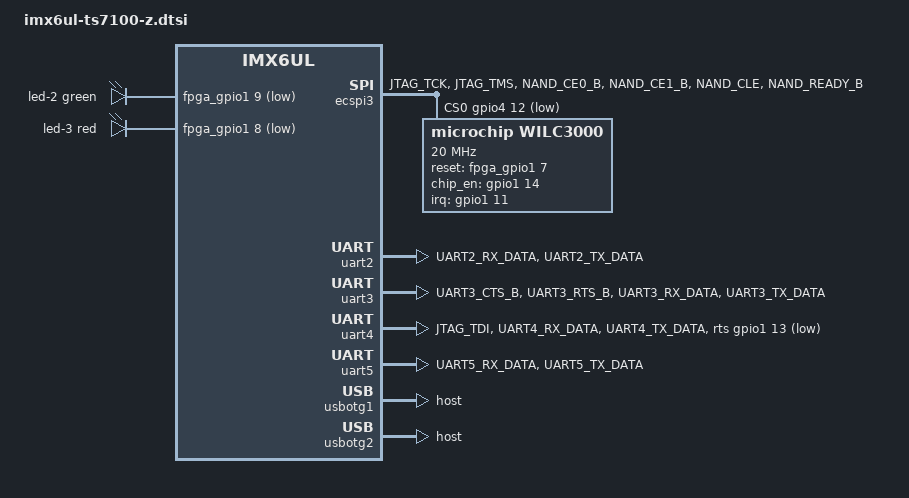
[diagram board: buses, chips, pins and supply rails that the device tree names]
// SPDX-License-Identifier: GPL-2.0 OR X11
/*
 * Copyright (C) 2023 Technologic Systems, Inc. dba embeddedTS
 */

/ {
	aliases {
		gpio5 = &fpga_gpio0;
		gpio6 = &fpga_gpio1;
		gpio7 = &fpga_gpio2;
	};

	led-controller {
		compatible = "gpio-leds";

		led-2 {
			color = <LED_COLOR_ID_GREEN>;
			function = LED_FUNCTION_INDICATOR;
			gpios = <&fpga_gpio1 9 GPIO_ACTIVE_LOW>;
			default-state = "off";
		};

		led-3 {
			color = <LED_COLOR_ID_RED>;
			function = LED_FUNCTION_INDICATOR;
			gpios = <&fpga_gpio1 8 GPIO_ACTIVE_LOW>;
			default-state = "off";
		};
	};
};

&ecspi3 {
	num-cs = <1>;
	cs-gpios = <&gpio4 12 GPIO_ACTIVE_LOW>;
	pinctrl-names = "default";
	pinctrl-0 = <&pinctrl_ecspi3>;
	status = "okay";

	wilc3000: wifi@0 {
		compatible = "microchip,wilc3000";
		reg = <0>;
		spi-max-frequency = <20000000>;
		reset-gpios = <&fpga_gpio1 7 GPIO_ACTIVE_HIGH>;
		chip_en-gpios = <&gpio1 14 GPIO_ACTIVE_HIGH>;
		interrupt-parent = <&gpio1>;
		interrupts = <11 GPIO_ACTIVE_HIGH>;
	};
};

/* CPU GPIO1: 209c000.gpio */
&gpio1 {
	gpio-line-names =
		"AN_CH4",        "RTC_BATT_FAIL", "I2C_1_CLK",     "I2C_1_DAT",
		"AN_CH0",        "AN_CH1",        "",              "",
		"AN_CH2",        "AN_CH3",        "",              "",
		"",              "",              "",              "",
		"",              "",              "",              "",
		"",              "",              "",              "",
		"",              "",              "",              "",
		"",              "",              "",              "";
};

/* CPU GPIO3: 20a4000.gpio */
&gpio3 {
	gpio-line-names =
		"",              "",              "",              "",
		"",              "",              "",              "",
		"",              "",              "",              "",
		"",              "",              "NIM_STATUS",    "",
		"",              "",              "",              "",
		"",              "",              "",              "",
		"",              "",              "",              "",
		"",              "",              "",              "";
};

/* CPU GPIO5: 20ac000.gpio */
&gpio5 {
	gpio-line-names =
		"POWER_FAIL_3V", "FPGA_IRQ",      "",              "",
		"EN_RELAY_1",    "EN_RELAY_2",    "NIM_RESET",     "",
		"",              "",              "",              "",
		"",              "",              "",              "",
		"",              "",              "",              "",
		"",              "",              "",              "",
		"",              "",              "",              "",
		"",              "",              "",              "";
};

/* FPGA dio: 50004010.gpio */
&fpga_gpio0 {
	gpio-line-names =
		"DIO_1_OUT", "DIO_2_OUT", "DIO_1_IN",  "DIO_2_IN",
		"DIO_3_IN",  "DIO_6",     "DIG_IN_1",  "DIG_IN_2",
		"DIG_IN_3",  "EN_CL_1",   "EN_CL_2",   "EN_CL_3",
		"",          "",          "EN_CL_4",   "EN_HS_SW";
};

/* FPGA dio2: 50004040.gpio */
&fpga_gpio1 {
	gpio-line-names =
		"EN_EMMC_3V3#",   "EN_ADC1_12V",    "EN_ADC2_12V",    "EN_ADC3_12V",
		"EN_ADC4_12V",    "EN_USB_HOST_5V", "PHY_RESET#",     "WIFI_RESET#",
		"IO_RED_LED#",    "IO_GREEN_LED#",  "",               "",
		"EN_PROG_SILAB",  "DIO_3_OUT",      "EN_HSPWM",       "EN_LSPWM";
};

/* FPGA dio3: 50004050.gpio */
&fpga_gpio2 {
	gpio-line-names =
		"CPU_TOUCH_IRQ#", "",               "C6_PAD",         "B8_PAD",
		"C9_PAD",         "C8_PAD",         "NIM_3V3#_4V",    "DIO_16_PAD",
		"NIM_PWR_ON",     "SEL_NIM_USB",    "DIO_FAULT#",     "",
		"",               "",               "EN_BK_LT#",      "";
};

&iomuxc {
	pinctrl-names = "default";
	pinctrl-0 = <&ts7100z_pinctrl_hog>;

	imx6ul-ts7100z {
		ts7100z_pinctrl_hog: ts7100zhoggrp {
			fsl,pins = <
				/*
				 * All GPIO should be 0x1b020 unless special
				 * 0x1b020 == Hyst., 100k PU, 50 mA drive
				 * 0x1a020 == no pull resistor
				 * 0x13020 == 100k PD
				 */

				 /* REV B Strap */
				MX6UL_PAD_JTAG_TDO__GPIO1_IO12		0x1b020

				/* NIM_STATUS - set to drop when modem is no longer driving it high */
				MX6UL_PAD_LCD_DATA09__GPIO3_IO14	0x13020

				/* POWER_FAIL */
				MX6UL_PAD_SNVS_TAMPER0__GPIO5_IO00	0x1b020
				/* EN_RELAY 1 */
				MX6UL_PAD_SNVS_TAMPER4__GPIO5_IO04	0x1a020
				/* EN_RELAY 2 */
				MX6UL_PAD_SNVS_TAMPER5__GPIO5_IO05	0x1a020
				/* NIM_RESET */
				MX6UL_PAD_SNVS_TAMPER6__GPIO5_IO06	0x1b020
				/* FPGA Spares */
				MX6UL_PAD_SNVS_TAMPER7__GPIO5_IO07	0x1b020
				MX6UL_PAD_SNVS_TAMPER8__GPIO5_IO08	0x1b020
				MX6UL_PAD_SNVS_TAMPER9__GPIO5_IO09	0x1b020
			>;
		};

		pinctrl_adc1: adc1grp{
			fsl,pins = <
				MX6UL_PAD_GPIO1_IO00__GPIO1_IO00	0x1a020
				MX6UL_PAD_GPIO1_IO01__GPIO1_IO01	0x1a020
				MX6UL_PAD_GPIO1_IO04__GPIO1_IO04	0x1a020
				MX6UL_PAD_GPIO1_IO05__GPIO1_IO05	0x1a020
				MX6UL_PAD_GPIO1_IO08__GPIO1_IO08	0x1a020
				MX6UL_PAD_GPIO1_IO09__GPIO1_IO09	0x1a020
			>;
		};

		pinctrl_ecspi3: ecspi3grp {
			fsl,pins = <
				MX6UL_PAD_JTAG_TCK__GPIO1_IO14		0x1b020
				MX6UL_PAD_JTAG_TMS__GPIO1_IO11		0x1b020
				MX6UL_PAD_NAND_CE0_B__ECSPI3_SCLK	0x1b020
				MX6UL_PAD_NAND_CE1_B__ECSPI3_MOSI	0x1b020
				MX6UL_PAD_NAND_CLE__ECSPI3_MISO		0x1b020
				MX6UL_PAD_NAND_READY_B__GPIO4_IO12	0x1b020
			>;
		};

		pinctrl_uart2: uart2grp {
			fsl,pins = <
				MX6UL_PAD_UART2_RX_DATA__UART2_DCE_RX	0x1b0b1
				MX6UL_PAD_UART2_TX_DATA__UART2_DCE_TX	0x1b0b1
			>;
		};

		pinctrl_uart3: uart3grp {
			fsl,pins = <
				MX6UL_PAD_UART3_CTS_B__UART3_DCE_CTS	0x1b0b1
				MX6UL_PAD_UART3_RTS_B__UART3_DCE_RTS	0x1b0b1
				MX6UL_PAD_UART3_RX_DATA__UART3_DCE_RX	0x1b0b1
				MX6UL_PAD_UART3_TX_DATA__UART3_DCE_TX	0x1b0b1
			>;
		};

		pinctrl_uart4: uart4grp {
			fsl,pins = <
				MX6UL_PAD_JTAG_TDI__GPIO1_IO13		0x1b020
				MX6UL_PAD_UART4_RX_DATA__UART4_DCE_RX	0x1b0b1
				MX6UL_PAD_UART4_TX_DATA__UART4_DCE_TX	0x1b0b1
			>;
		};

		pinctrl_uart5: uart5grp {
			fsl,pins = <
				MX6UL_PAD_UART5_RX_DATA__UART5_DCE_RX	0x1b0b1
				MX6UL_PAD_UART5_TX_DATA__UART5_DCE_TX	0x1b0b1
			>;
		};
	};
};

&uart2 {
	pinctrl-names = "default";
	pinctrl-0 = <&pinctrl_uart2>;
	status = "okay";
};

&uart3 {
	pinctrl-names = "default";
	pinctrl-0 = <&pinctrl_uart3>;
	status = "okay";
	uart-has-rtscts;
};

&uart4 {
	pinctrl-names = "default";
	pinctrl-0 = <&pinctrl_uart4>;
	status = "okay";
	rts-gpios = <&gpio1 13 GPIO_ACTIVE_LOW>;
};

&uart5 {
	pinctrl-names = "default";
	pinctrl-0 = <&pinctrl_uart5>;
	status = "okay";
};

&usbotg1 {
	dr_mode = "host";
	disable-over-current;
	status = "okay";
};

&usbotg2 {
	dr_mode = "host";
	disable-over-current;
	status = "okay";
};
